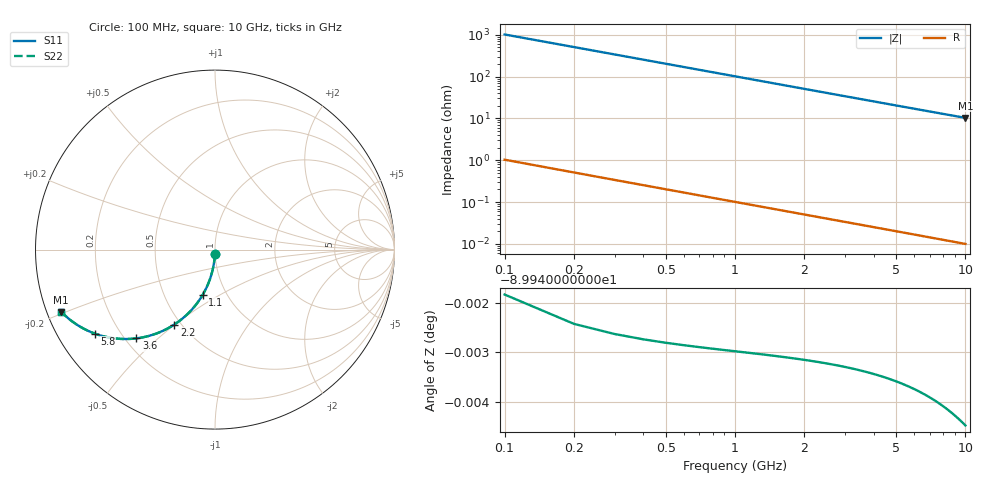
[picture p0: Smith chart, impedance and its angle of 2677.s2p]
# Hz S RI R 50.00
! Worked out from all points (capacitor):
!   100 points, 100 MHz to 10 GHz, reference 50 ohm
!   read as one part in shunt: C = 1.57 pF near 100 MHz
!   lowest |Z| = 10.3 ohm at 10 GHz (marker M1)
!   S11 on the Smith chart (normalised r, x): 100 MHz: 1.00, -0.05; 1.1 GHz: 0.77, -0.42; 2.2 GHz: 0.46, -0.50; 3.6 GHz: 0.24, -0.43; 5.8 GHz: 0.11, -0.31; 10 GHz: 0.04, -0.19
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1e8  -0.000619 -0.0246  0.9994 -0.0246  0.9994 -0.0246  -0.000619 -0.0246
2e8  -0.00245 -0.049  0.9975 -0.0492  0.9975 -0.0492  -0.00245 -0.049
3e8  -0.00548 -0.0733  0.9945 -0.0735  0.9945 -0.0735  -0.00548 -0.0733
4e8  -0.00968 -0.0973  0.9903 -0.0976  0.9903 -0.0976  -0.00968 -0.0973
5e8  -0.015 -0.121  0.985 -0.1213  0.985 -0.1213  -0.015 -0.121
6e8  -0.0215 -0.1443  0.9785 -0.1446  0.9785 -0.1446  -0.0215 -0.1443
7e8  -0.029 -0.167  0.971 -0.1675  0.971 -0.1675  -0.029 -0.167
9e8  -0.0469 -0.2107  0.9531 -0.2113  0.9531 -0.2113  -0.0469 -0.2107
1.1e9  -0.0684 -0.2517  0.9315 -0.2524  0.9315 -0.2524  -0.0684 -0.2517
1.4e9  -0.1062 -0.3072  0.8938 -0.3081  0.8938 -0.3081  -0.1062 -0.3072
1.8e9  -0.164 -0.3692  0.836 -0.3704  0.836 -0.3704  -0.164 -0.3692
2.2e9  -0.2264 -0.4173  0.7735 -0.4187  0.7735 -0.4187  -0.2264 -0.4173
2.8e9  -0.3213 -0.4656  0.6787 -0.4674  0.6787 -0.4674  -0.3213 -0.4656
3.4e9  -0.4107 -0.4904  0.5893 -0.4926  0.5893 -0.4926  -0.4107 -0.4904
3.6e9  -0.4385 -0.4945  0.5615 -0.4969  0.5615 -0.4969  -0.4385 -0.4945
4.3e9  -0.5266 -0.4974  0.4734 -0.5002  0.4734 -0.5002  -0.5266 -0.4974
5.1e9  -0.6096 -0.4857  0.3903 -0.489  0.3903 -0.489  -0.6096 -0.4857
5.8e9  -0.6685 -0.4683  0.3314 -0.4721  0.3314 -0.4721  -0.6685 -0.4683
6.7e9  -0.7287 -0.4419  0.2712 -0.4463  0.2712 -0.4463  -0.7287 -0.4419
7.5e9  -0.7707 -0.4174  0.2292 -0.4223  0.2292 -0.4223  -0.7707 -0.4174
8.4e9  -0.8081 -0.3905  0.1918 -0.396  0.1918 -0.396  -0.8081 -0.3905
1e10  -0.8563 -0.347  0.1437 -0.3536  0.1437 -0.3536  -0.8563 -0.347
